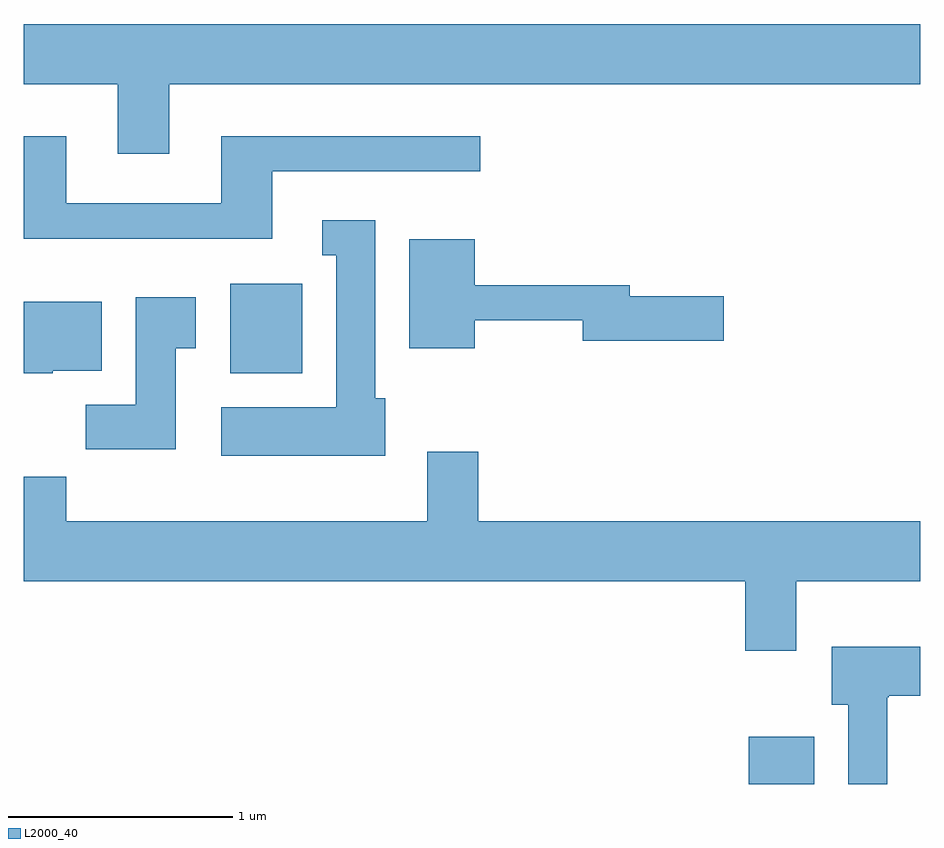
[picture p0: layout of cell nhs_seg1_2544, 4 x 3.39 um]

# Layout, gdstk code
import gdstk
lib = gdstk.Library(unit=1e-6, precision=1e-09)
def R(c, l, rs):  # rectangles x0, y0, x1, y1
    for r in rs: c.add(gdstk.rectangle(r[:2], r[2:], *l))
def P(c, l, *ps):  # polygons
    for p in ps: c.add(gdstk.Polygon(p, *l))
L2000_40 = (2000, 40)

nhs_seg1_2544 = lib.new_cell('nhs_seg1_2544')
R(nhs_seg1_2544, L2000_40, [(264.846,969.712,265.139,969.924), (262.531,971.546,262.854,971.944)])
P(nhs_seg1_2544, L2000_40, [(262.259,972.836),(265.611,972.836),(265.611,973.104),(261.611,973.104),(261.611,972.836),(262.031,972.836),(262.031,972.526),(262.259,972.526)],
  [(262.719,972.446),(263.648,972.446),(263.648,972.604),(262.491,972.604),(262.491,972.304),(261.799,972.304),(261.799,972.604),(261.611,972.604),(261.611,972.146),(262.719,972.146)],
  [(263.224,971.434),(263.179,971.434),(263.179,972.229),(262.943,972.229),(262.943,972.071),(263.006,972.071),(263.006,971.394),(262.491,971.394),(262.491,971.176),(263.224,971.176)],
  [(263.624,971.781),(264.106,971.781),(264.106,971.691),(264.734,971.691),(264.734,971.889),(264.314,971.889),(264.314,971.939),(263.624,971.939),(263.624,972.144),(263.331,972.144),(263.331,971.656),(263.624,971.656)],
  [(262.289,971.656),(262.379,971.656),(262.379,971.884),(262.111,971.884),(262.111,971.404),(261.886,971.404),(261.886,971.206),(262.289,971.206)],
  [(261.74,971.556),(261.959,971.556),(261.959,971.864),(261.611,971.864),(261.611,971.546),(261.74,971.546)],
  [(265.059,970.616),(265.611,970.616),(265.611,970.884),(263.639,970.884),(263.639,971.194),(263.411,971.194),(263.411,970.884),(261.799,970.884),(261.799,971.084),(261.611,971.084),(261.611,970.616),(264.831,970.616),(264.831,970.306),(265.059,970.306)],
  [(265.464,970.1),(265.47,970.1),(265.47,970.106),(265.611,970.106),(265.611,970.324),(265.216,970.324),(265.216,970.066),(265.291,970.066),(265.291,969.712),(265.464,969.712)])

lib.write_gds('nhs_seg1_2544.gds')
